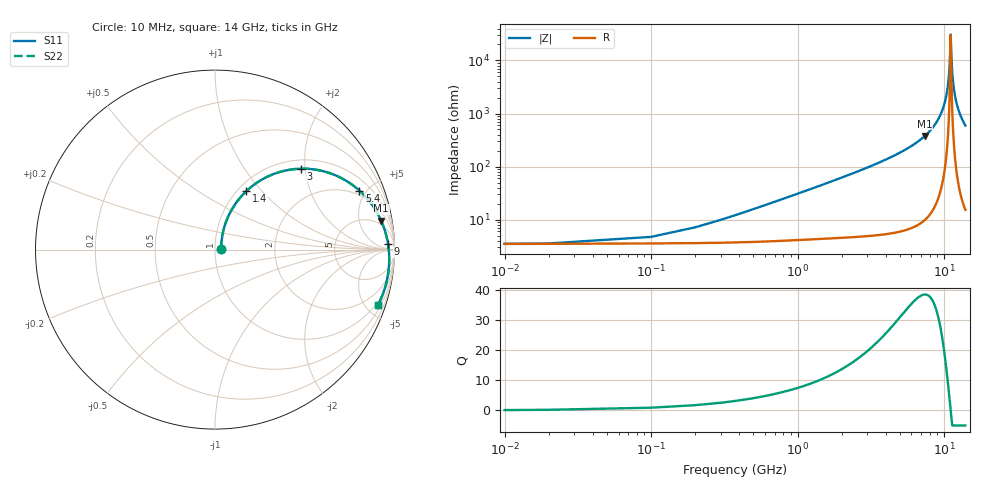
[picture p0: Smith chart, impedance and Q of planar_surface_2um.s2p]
! Created with skrf 1.12.0 (http://scikit-rf.org).
# GHz S DB R 50.0
!freq dBS11 angS11 dBS21 angS21 dBS12 angS12 dBS22 angS22
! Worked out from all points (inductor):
!   142 points, 10 MHz to 14 GHz, reference 50 ohm
!   read as one part in series: L = 4.86 nH near 400 MHz
!   highest Q = 38.3 at 7.4 GHz (marker M1), where L = 8.12 nH
!   self-resonance near 11.1 GHz
!   S11 on the Smith chart (normalised r, x): 10 MHz: 1.07, +0.01; 1.4 GHz: 1.10, +0.82; 3 GHz: 1.20, +1.90; 5.4 GHz: 1.67, +4.49; 9 GHz: 31, +28; 14 GHz: 0.77, -5.98
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0.01  -29.42 4.9  -0.30 -0.2  -0.30 -0.2  -29.42 4.9
0.5  -16.92 67.9  -0.44 -8.9  -0.44 -8.9  -16.93 67.9
0.9  -12.14 67.1  -0.68 -15.5  -0.68 -15.5  -12.14 67.1
1.4  -8.68 61.9  -1.08 -23.2  -1.08 -23.2  -8.68 61.9
2.4  -4.92 49.9  -2.24 -37.1  -2.24 -37.1  -4.93 49.9
3  -3.63 43.2  -3.10 -44.4  -3.10 -44.4  -3.63 43.2
4.7  -1.65 27.5  -5.99 -60.8  -5.99 -60.8  -1.65 27.5
5.4  -1.22 22.3  -7.34 -66.2  -7.34 -66.2  -1.22 22.3
7.1  -0.61 11.5  -11.20 -77.1  -11.20 -77.1  -0.61 11.5
7.4  -0.54 9.9  -12.00 -78.7  -12.00 -78.7  -0.54 9.9
9  -0.31 1.8  -17.48 -86.4  -17.48 -86.4  -0.31 1.8
9.4  -0.28 -0.0  -19.43 -88.0  -19.43 -88.0  -0.28 -0.0
10.1  -0.24 -3.1  -24.20 -90.0  -24.20 -90.0  -0.25 -3.1
10.6  -0.23 -5.3  -30.21 -89.4  -30.21 -89.4  -0.23 -5.3
10.9  -0.23 -6.5  -37.70 -82.8  -37.70 -82.8  -0.23 -6.5
11  -0.23 -6.9  -42.64 -72.5  -42.64 -72.5  -0.23 -6.9
11.1  -0.23 -7.4  -50.06 -22.3  -50.06 -22.3  -0.23 -7.4
11.3  -0.23 -8.2  -38.93 66.5  -38.93 66.5  -0.23 -8.2
11.4  -0.23 -8.6  -35.40 71.3  -35.40 71.3  -0.23 -8.6
11.7  -0.23 -9.8  -29.35 75.2  -29.35 75.2  -0.24 -9.8
12.6  -0.26 -13.3  -21.49 74.6  -21.49 74.6  -0.27 -13.4
14  -0.36 -18.7  -15.99 70.1  -15.99 70.1  -0.36 -18.7
